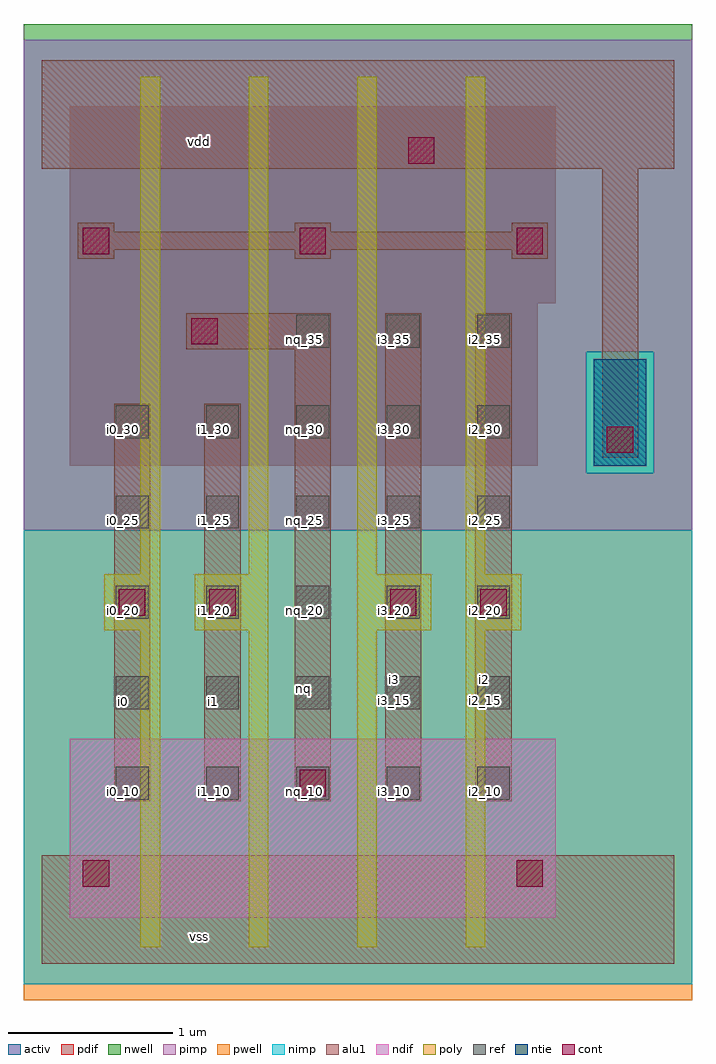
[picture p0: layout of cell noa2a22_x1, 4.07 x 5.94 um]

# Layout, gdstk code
import gdstk
lib = gdstk.Library(unit=1e-6, precision=2.5e-09)
def R(c, l, rs):  # rectangles x0, y0, x1, y1
    for r in rs: c.add(gdstk.rectangle(r[:2], r[2:], *l))
def A(c, l, x, y, w, h, nx, ny, dx, dy):  # array of equal rectangles
    R(c, l, [(x+i*dx, y+j*dy, x+i*dx+w, y+j*dy+h) for i in range(nx) for j in range(ny)])
ndif = (3, 0)
pdif = (4, 0)
ntie = (5, 0)
ref = (24, 0)
cont = (25, 0)
pwell = (41, 0)
nwell = (42, 0)
activ = (43, 0)
pimp = (44, 0)
nimp = (45, 0)
poly = (46, 0)
alu1 = (49, 0)

noa2a22_x1 = lib.new_cell('noa2a22_x1')
R(noa2a22_x1, ndif, [(0.17,0.28,3.13,1.37), (0.17,0.28,3.13,1.37)])
R(noa2a22_x1, pdif, [(0.17,3.03,3.02,4.02), (0.17,3.03,3.02,4.02), (0.17,4.02,3.13,5.22), (0.17,4.02,3.13,5.22)])
R(noa2a22_x1, ntie, [(3.36,3.03,3.68,3.68), (3.36,3.03,3.68,3.68)])
A(noa2a22_x1, ref, 0.45, 1, 0.2, 0.2, 5, 5, 0.55, 0.55)
A(noa2a22_x1, ref, 1.55, 3.75, 0.2, 0.2, 3, 1, 0.55, 0)
A(noa2a22_x1, cont, 0.25, 4.32, 0.16, 0.16, 3, 1, 1.32, 0)
R(noa2a22_x1, cont, [(0.25,0.47,0.41,0.63), (2.89,0.47,3.05,0.63), (1.57,1.02,1.73,1.18), (0.47,2.12,0.63,2.28), (1.02,2.12,1.18,2.28), (2.12,2.12,2.28,2.28), (2.67,2.12,2.83,2.28), (3.44,3.11,3.6,3.27), (0.91,3.77,1.07,3.93), (2.23,4.87,2.39,5.03)])
R(noa2a22_x1, pwell, [(-0.11,-0.22,3.96,2.64)])
R(noa2a22_x1, nwell, [(-0.11,2.64,3.96,5.72)])
R(noa2a22_x1, activ, [(0.17,0.28,3.13,1.37), (0.17,0.28,3.13,1.37), (0.17,3.03,3.02,4.02), (0.17,3.03,3.02,4.02), (3.36,3.03,3.68,3.68), (3.36,3.03,3.68,3.68), (0.17,4.02,3.13,5.22), (0.17,4.02,3.13,5.22)])
R(noa2a22_x1, pimp, [(-0.11,2.64,3.96,2.985), (-0.11,2.985,3.315,3.725), (3.725,2.985,3.96,3.725), (-0.11,3.725,3.96,5.625)])
R(noa2a22_x1, nimp, [(-0.11,-0.125,3.96,2.64), (3.315,2.985,3.725,3.725)])
A(noa2a22_x1, poly, 0.6, 0.1, 0.12, 1.93, 4, 1, 0.66, 0)
A(noa2a22_x1, poly, 0.6, 2.37, 0.12, 3.03, 4, 1, 0.66, 0)
R(noa2a22_x1, poly, [(0.38,2.03,0.72,2.37), (0.93,2.03,1.38,2.37), (1.92,2.03,2.37,2.37), (2.58,2.03,2.92,2.37)])
A(noa2a22_x1, alu1, 0.22, 4.29, 0.22, 0.055, 3, 2, 1.32, 0.165)
R(noa2a22_x1, alu1, [(0,0,3.85,0.66), (0.44,0.99,0.66,3.41), (0.99,0.99,1.21,3.41), (1.54,0.99,1.76,3.74), (2.09,0.99,2.31,3.96), (2.64,0.99,2.86,3.96), (3.41,3.08,3.63,4.84), (0.88,3.74,1.76,3.96), (0.22,4.345,3.08,4.455), (0,4.84,3.85,5.5)])
noa2a22_x1.add(gdstk.Label('vss', (0.9625,0.165), layer=49, texttype=0))
noa2a22_x1.add(gdstk.Label('i2', (2.695,1.7325), layer=49, texttype=0))
noa2a22_x1.add(gdstk.Label('i3', (2.145,1.7325), layer=49, texttype=0))
noa2a22_x1.add(gdstk.Label('nq', (1.595,1.6775), layer=49, texttype=0))
noa2a22_x1.add(gdstk.Label('i1', (1.045,1.595), layer=49, texttype=0))
noa2a22_x1.add(gdstk.Label('i0', (0.495,1.595), layer=49, texttype=0))
noa2a22_x1.add(gdstk.Label('vdd', (0.9625,5.005), layer=49, texttype=0))
noa2a22_x1.add(gdstk.Label('nq_35', (1.6,3.8), layer=24, texttype=0))
noa2a22_x1.add(gdstk.Label('nq_30', (1.6,3.25), layer=24, texttype=0))
noa2a22_x1.add(gdstk.Label('nq_25', (1.6,2.7), layer=24, texttype=0))
noa2a22_x1.add(gdstk.Label('nq_20', (1.6,2.15), layer=24, texttype=0))
noa2a22_x1.add(gdstk.Label('nq_15', (1.6,1.6), layer=24, texttype=0))
noa2a22_x1.add(gdstk.Label('nq_10', (1.6,1.05), layer=24, texttype=0))
noa2a22_x1.add(gdstk.Label('i2_10', (2.7,1.05), layer=24, texttype=0))
noa2a22_x1.add(gdstk.Label('i2_15', (2.7,1.6), layer=24, texttype=0))
noa2a22_x1.add(gdstk.Label('i2_20', (2.7,2.15), layer=24, texttype=0))
noa2a22_x1.add(gdstk.Label('i2_25', (2.7,2.7), layer=24, texttype=0))
noa2a22_x1.add(gdstk.Label('i2_30', (2.7,3.25), layer=24, texttype=0))
noa2a22_x1.add(gdstk.Label('i2_35', (2.7,3.8), layer=24, texttype=0))
noa2a22_x1.add(gdstk.Label('i3_35', (2.15,3.8), layer=24, texttype=0))
noa2a22_x1.add(gdstk.Label('i3_30', (2.15,3.25), layer=24, texttype=0))
noa2a22_x1.add(gdstk.Label('i3_25', (2.15,2.7), layer=24, texttype=0))
noa2a22_x1.add(gdstk.Label('i3_20', (2.15,2.15), layer=24, texttype=0))
noa2a22_x1.add(gdstk.Label('i3_15', (2.15,1.6), layer=24, texttype=0))
noa2a22_x1.add(gdstk.Label('i3_10', (2.15,1.05), layer=24, texttype=0))
noa2a22_x1.add(gdstk.Label('i1_10', (1.05,1.05), layer=24, texttype=0))
noa2a22_x1.add(gdstk.Label('i1_15', (1.05,1.6), layer=24, texttype=0))
noa2a22_x1.add(gdstk.Label('i1_20', (1.05,2.15), layer=24, texttype=0))
noa2a22_x1.add(gdstk.Label('i1_25', (1.05,2.7), layer=24, texttype=0))
noa2a22_x1.add(gdstk.Label('i1_30', (1.05,3.25), layer=24, texttype=0))
noa2a22_x1.add(gdstk.Label('i0_30', (0.5,3.25), layer=24, texttype=0))
noa2a22_x1.add(gdstk.Label('i0_25', (0.5,2.7), layer=24, texttype=0))
noa2a22_x1.add(gdstk.Label('i0_20', (0.5,2.15), layer=24, texttype=0))
noa2a22_x1.add(gdstk.Label('i0_15', (0.5,1.6), layer=24, texttype=0))
noa2a22_x1.add(gdstk.Label('i0_10', (0.5,1.05), layer=24, texttype=0))

lib.write_gds('noa2a22_x1.gds')
